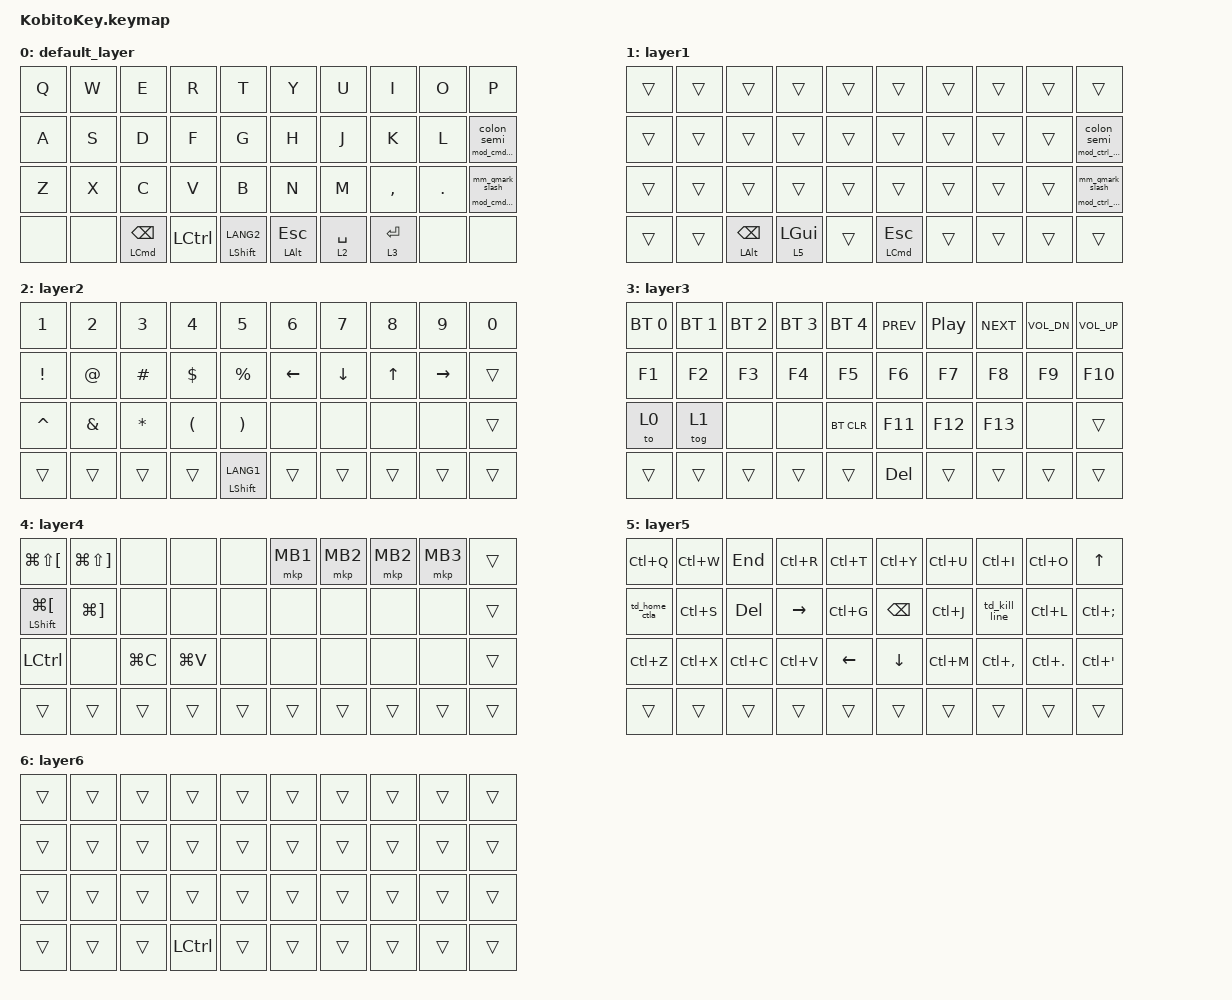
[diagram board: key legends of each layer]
#include <input/processors.dtsi>
#include <behaviors.dtsi>
#include <dt-bindings/zmk/bt.h>
#include <dt-bindings/zmk/keys.h>
#include <dt-bindings/zmk/pointing.h>

/ {
    macros {
        macro_kill_line: macro_kill_line {
            compatible = "zmk,behavior-macro";
            #binding-cells = <0>;
            wait-ms = <30>;
            tap-ms = <30>;
            bindings = <&kp LS(END)>, <&kp DEL>;
        };

        mod_cmd_shift: mod_cmd_shift {
            compatible = "zmk,behavior-macro";
            #binding-cells = <0>;
            wait-ms = <0>;
            tap-ms = <0>;
            bindings = <&macro_press &kp LSHFT &kp LGUI>, <&macro_pause_for_release>, <&macro_release &kp LGUI &kp LSHFT>;
        };

        mod_cmd_ctrl: mod_cmd_ctrl {
            compatible = "zmk,behavior-macro";
            #binding-cells = <0>;
            wait-ms = <0>;
            tap-ms = <0>;
            bindings = <&macro_press &kp LCTRL &kp LGUI>, <&macro_pause_for_release>, <&macro_release &kp LGUI &kp LCTRL>;
        };

        mod_cmd_alt: mod_cmd_alt {
            compatible = "zmk,behavior-macro";
            #binding-cells = <0>;
            wait-ms = <0>;
            tap-ms = <0>;
            bindings = <&macro_press &kp LALT &kp LGUI>, <&macro_pause_for_release>, <&macro_release &kp LGUI &kp LALT>;
        };

        mod_ctrl_shift: mod_ctrl_shift {
            compatible = "zmk,behavior-macro";
            #binding-cells = <0>;
            wait-ms = <0>;
            tap-ms = <0>;
            bindings = <&macro_press &kp LSHFT &kp LCTRL>, <&macro_pause_for_release>, <&macro_release &kp LCTRL &kp LSHFT>;
        };

        mod_ctrl_alt: mod_ctrl_alt {
            compatible = "zmk,behavior-macro";
            #binding-cells = <0>;
            wait-ms = <0>;
            tap-ms = <0>;
            bindings = <&macro_press &kp LALT &kp LCTRL>, <&macro_pause_for_release>, <&macro_release &kp LCTRL &kp LALT>;
        };

    };

    behaviors {
        colon_semi: colon_semi {
            compatible = "zmk,behavior-mod-morph";
            #binding-cells = <0>;
            bindings = <&kp COLON>, <&kp SEMI>;
            mods = <(MOD_LSFT|MOD_RSFT)>;
        };

        ht_lang: ht_lang {
            compatible = "zmk,behavior-hold-tap";
            #binding-cells = <2>;
            tapping-term-ms = <200>;
            quick-tap-ms = <0>;
            flavor = "tap-preferred";
            bindings = <&kp>, <&kp>;
        };

        mm_minus_under: mm_minus_under {
            compatible = "zmk,behavior-mod-morph";
            #binding-cells = <0>;
            bindings = <&kp MINUS>, <&kp UNDER>;
            mods = <(MOD_LSFT|MOD_RSFT)>;
        };

        mm_equal_plus: mm_equal_plus {
            compatible = "zmk,behavior-mod-morph";
            #binding-cells = <0>;
            bindings = <&kp EQUAL>, <&kp PLUS>;
            mods = <(MOD_LSFT|MOD_RSFT)>;
        };

        mm_squote_dquote: mm_squote_dquote {
            compatible = "zmk,behavior-mod-morph";
            #binding-cells = <0>;
            bindings = <&kp SQT>, <&kp DQT>;
            mods = <(MOD_LSFT|MOD_RSFT)>;
        };

        td_kill_line: td_kill_line {
            compatible = "zmk,behavior-tap-dance";
            #binding-cells = <0>;
            tapping-term-ms = <200>;
            bindings = <&kp LC(K)>, <&macro_kill_line>;
        };

        td_home_ctla: td_home_ctla {
            compatible = "zmk,behavior-tap-dance";
            #binding-cells = <0>;
            tapping-term-ms = <200>;
            bindings = <&kp HOME>, <&kp LC(A)>;
        };

        mm_qmark_slash: mm_qmark_slash {
            compatible = "zmk,behavior-mod-morph";
            #binding-cells = <0>;
            bindings = <&kp SLASH>, <&kp QMARK>;
            mods = <(MOD_LSFT|MOD_RSFT)>;
        };

        mm_grave_tilde: mm_grave_tilde {
            compatible = "zmk,behavior-mod-morph";
            #binding-cells = <0>;
            bindings = <&kp GRAVE>, <&kp TILDE>;
            mods = <(MOD_LSFT|MOD_RSFT)>;
        };

        mm_pipe_bslash: mm_pipe_bslash {
            compatible = "zmk,behavior-mod-morph";
            #binding-cells = <0>;
            bindings = <&kp PIPE>, <&kp BSLH>;
            mods = <(MOD_LSFT|MOD_RSFT)>;
        };

        mm_lbkt_lbrc: mm_lbkt_lbrc {
            compatible = "zmk,behavior-mod-morph";
            #binding-cells = <0>;
            bindings = <&kp LBKT>, <&kp LBRC>;
            mods = <(MOD_LSFT|MOD_RSFT)>;
        };

        mm_rbkt_rbrc: mm_rbkt_rbrc {
            compatible = "zmk,behavior-mod-morph";
            #binding-cells = <0>;
            bindings = <&kp RBKT>, <&kp RBRC>;
            mods = <(MOD_LSFT|MOD_RSFT)>;
        };

        ht_cmd_shift: ht_cmd_shift {
            compatible = "zmk,behavior-hold-tap";
            #binding-cells = <2>;
            tapping-term-ms = <200>;
            quick-tap-ms = <0>;
            flavor = "balanced";
            bindings = <&mod_cmd_shift>, <&kp>;
        };

        ht_cmd_shift_colon: ht_cmd_shift_colon {
            compatible = "zmk,behavior-hold-tap";
            #binding-cells = <2>;
            tapping-term-ms = <200>;
            quick-tap-ms = <0>;
            flavor = "balanced";
            bindings = <&mod_cmd_shift>, <&colon_semi>;
        };

        ht_cmd_ctrl: ht_cmd_ctrl {
            compatible = "zmk,behavior-hold-tap";
            #binding-cells = <2>;
            tapping-term-ms = <200>;
            quick-tap-ms = <0>;
            flavor = "balanced";
            bindings = <&mod_cmd_ctrl>, <&kp>;
        };

        ht_cmd_ctrl_qmark: ht_cmd_ctrl_qmark {
            compatible = "zmk,behavior-hold-tap";
            #binding-cells = <2>;
            tapping-term-ms = <200>;
            quick-tap-ms = <0>;
            flavor = "balanced";
            bindings = <&mod_cmd_ctrl>, <&mm_qmark_slash>;
        };

        ht_cmd_alt: ht_cmd_alt {
            compatible = "zmk,behavior-hold-tap";
            #binding-cells = <2>;
            tapping-term-ms = <200>;
            quick-tap-ms = <0>;
            flavor = "balanced";
            bindings = <&mod_cmd_alt>, <&kp>;
        };

        ht_ctrl_shift: ht_ctrl_shift {
            compatible = "zmk,behavior-hold-tap";
            #binding-cells = <2>;
            tapping-term-ms = <200>;
            quick-tap-ms = <0>;
            flavor = "balanced";
            bindings = <&mod_ctrl_shift>, <&kp>;
        };

        ht_ctrl_shift_colon: ht_ctrl_shift_colon {
            compatible = "zmk,behavior-hold-tap";
            #binding-cells = <2>;
            tapping-term-ms = <200>;
            quick-tap-ms = <0>;
            flavor = "balanced";
            bindings = <&mod_ctrl_shift>, <&colon_semi>;
        };

        ht_ctrl_alt: ht_ctrl_alt {
            compatible = "zmk,behavior-hold-tap";
            #binding-cells = <2>;
            tapping-term-ms = <200>;
            quick-tap-ms = <0>;
            flavor = "balanced";
            bindings = <&mod_ctrl_alt>, <&kp>;
        };

        ht_ctrl_alt_qmark: ht_ctrl_alt_qmark {
            compatible = "zmk,behavior-hold-tap";
            #binding-cells = <2>;
            tapping-term-ms = <200>;
            quick-tap-ms = <0>;
            flavor = "balanced";
            bindings = <&mod_ctrl_alt>, <&mm_qmark_slash>;
        };
    };

    combos {
        compatible = "zmk,combos";

        combo_tab {
            timeout-ms = <50>;
            key-positions = <10 11>;
            bindings = <&kp TAB>;
        };

        combo_minus {
            timeout-ms = <50>;
            key-positions = <7 8>;
            bindings = <&mm_minus_under>;
        };

        combo_plus {
            timeout-ms = <50>;
            key-positions = <8 9>;
            bindings = <&mm_equal_plus>;
        };

        combo_squote {
            timeout-ms = <50>;
            key-positions = <18 19>;
            bindings = <&mm_squote_dquote>;
        };

        combo_question {
            timeout-ms = <50>;
            key-positions = <27 28>;
            bindings = <&mm_qmark_slash>;
        };

        combo_grave {
            timeout-ms = <50>;
            key-positions = <0 1>;
            bindings = <&mm_grave_tilde>;
        };

        combo_pipe {
            timeout-ms = <50>;
            key-positions = <6 7>;
            bindings = <&mm_pipe_bslash>;
        };

        combo_lbkt {
            timeout-ms = <50>;
            key-positions = <16 17>;
            bindings = <&mm_lbkt_lbrc>;
        };

        combo_rbkt {
            timeout-ms = <50>;
            key-positions = <17 18>;
            bindings = <&mm_rbkt_rbrc>;
        };

        combo_bspc {
            timeout-ms = <50>;
            key-positions = <25 26>;
            bindings = <&kp BSPC>;
        };

        combo_cmd_alt {
            timeout-ms = <50>;
            key-positions = <12 13>;
            bindings = <&mod_cmd_alt>;
            layers = <0>;
        };

        combo_ctrl_alt {
            timeout-ms = <50>;
            key-positions = <12 13>;
            bindings = <&mod_ctrl_alt>;
            layers = <1>;
        };

        combo_neovim_toggle {
            timeout-ms = <50>;
            key-positions = <11 12>;
            bindings = <&tog 6>;
            layers = <1 6>;
        };

        combo_yu_bspc {
            timeout-ms = <50>;
            key-positions = <5 6>;
            bindings = <&kp BSPC>;
        };
    };

    keymap {
        compatible = "zmk,keymap";

        default_layer {
            bindings = <
&kp Q      &kp W     &kp E     &kp R        &kp T      &kp Y     &kp U        &kp I      &kp O      &kp P
&kp A      &kp S     &kp D     &kp F        &kp G      &kp H     &kp J        &kp K      &kp L      &ht_cmd_shift_colon 0 0
&kp Z      &kp X     &kp C     &kp V        &kp B      &kp N     &kp M        &kp COMMA  &kp DOT    &ht_cmd_ctrl_qmark 0 0
&none      &none     &mt LCMD BSPC  &kp LCTRL  &mt LSHFT LANG2  &mt LALT ESC  &lt 2 SPACE  &lt 3 ENTER  &none      &none
            >;
        };

        layer1 {
            bindings = <
&trans     &trans    &trans    &trans       &trans     &trans    &trans       &trans     &trans     &trans
&trans     &trans    &trans    &trans       &trans     &trans    &trans       &trans     &trans     &ht_ctrl_shift_colon 0 0
&trans     &trans    &trans    &trans       &trans     &trans    &trans       &trans     &trans     &ht_ctrl_alt_qmark 0 0
&trans     &trans    &mt LALT BSPC  &lt 5 LGUI  &trans    &mt LCMD ESC  &trans       &trans     &trans     &trans
            >;
        };

        layer2 {
            bindings = <
&kp N1      &kp N2    &kp N3    &kp N4     &kp N5     &kp N6     &kp N7     &kp N8           &kp N9           &kp N0
&kp EXCL    &kp AT    &kp HASH  &kp DLLR   &kp PRCNT  &kp LEFT   &kp DOWN   &kp UP           &kp RIGHT        &trans
&kp CARET   &kp AMPS  &kp ASTRK &kp LPAR   &kp RPAR   &none      &none      &none            &none            &trans
&trans      &trans    &trans    &trans     &mt LSHFT LANG1  &trans     &trans     &trans           &trans           &trans
            >;
        };

        layer3 {
            bindings = <
&bt BT_SEL 0  &bt BT_SEL 1  &bt BT_SEL 2  &bt BT_SEL 3  &bt BT_SEL 4    &kp C_PREV  &kp C_PP  &kp C_NEXT  &kp C_VOL_DN  &kp C_VOL_UP
&kp F1        &kp F2        &kp F3        &kp F4        &kp F5          &kp F6   &kp F7   &kp F8   &kp F9   &kp F10
&to 0         &tog 1        &none         &none         &bt BT_CLR      &kp F11  &kp F12  &kp F13  &none    &trans
&trans        &trans        &trans        &trans        &trans          &kp DEL  &trans   &trans   &trans   &trans
            >;
        };

        layer4 {
            bindings = <
&kp LG(LS(LBKT))  &kp LG(LS(RBKT))  &none      &none      &none     &mkp MB1  &mkp MB2  &mkp MB2  &mkp MB3  &trans
&mt LSHFT LG(LBKT)  &kp LG(RBKT)    &none      &none      &none     &none     &none     &none     &none   &trans
&kp LCTRL         &none             &kp LG(C)  &kp LG(V)  &none     &none     &none     &none     &none   &trans
&trans            &trans            &trans     &trans     &trans    &trans    &trans    &trans    &trans  &trans
            >;
        };

        layer5 {
            bindings = <
&kp LC(Q)  &kp LC(W)  &kp END      &kp LC(R)  &kp LC(T)    &kp LC(Y)  &kp LC(U)        &kp LC(I)  &kp LC(O)  &kp UP
&td_home_ctla  &kp LC(S)  &kp DEL      &kp RIGHT  &kp LC(G)    &kp BSPC   &kp LC(J)        &td_kill_line  &kp LC(L)  &kp LC(SEMI)
&kp LC(Z)  &kp LC(X)  &kp LC(C)    &kp LC(V)  &kp LEFT     &kp DOWN   &kp LC(M)        &kp LC(COMMA)  &kp LC(DOT)  &kp LC(APOS)
&trans     &trans     &trans       &trans     &trans       &trans     &trans           &trans     &trans     &trans
            >;
        };

        layer6 {
            bindings = <
&trans &trans &trans &trans &trans  &trans &trans &trans &trans &trans
&trans &trans &trans &trans &trans  &trans &trans &trans &trans &trans
&trans &trans &trans &trans &trans  &trans &trans &trans &trans &trans
&trans &trans &trans &kp LCTRL &trans  &trans &trans &trans &trans &trans
            >;
        };
    };
};
